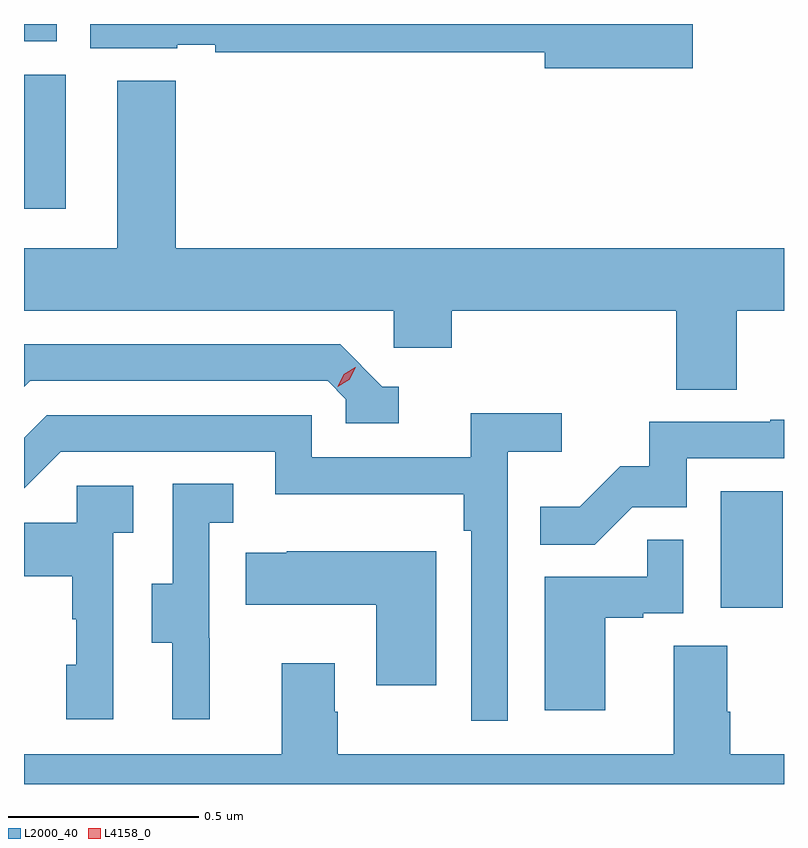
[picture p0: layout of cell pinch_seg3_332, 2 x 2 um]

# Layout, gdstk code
import gdstk
lib = gdstk.Library(unit=1e-6, precision=1e-09)
def R(c, l, rs):  # rectangles x0, y0, x1, y1
    for r in rs: c.add(gdstk.rectangle(r[:2], r[2:], *l))
def P(c, l, *ps):  # polygons
    for p in ps: c.add(gdstk.Polygon(p, *l))
L2000_40 = (2000, 40)
L4158_0 = (4158, 0)

pinch_seg3_332 = lib.new_cell('pinch_seg3_332')
R(pinch_seg3_332, L2000_40, [(1001.192,721.446,1001.356,721.753), (999.359,722.496,999.469,722.848), (999.359,722.936,999.445,722.982)])
P(pinch_seg3_332, L2000_40, [(1001.119,722.982),(999.533,722.982),(999.533,722.918),(999.762,722.918),(999.762,722.928),(999.862,722.928),(999.862,722.908),(1000.73,722.908),(1000.73,722.866),(1001.119,722.866)],
  [(1001.235,722.228),(1001.359,722.228),(1001.359,722.392),(999.758,722.392),(999.758,722.833),(999.605,722.833),(999.605,722.392),(999.359,722.392),(999.359,722.228),(1000.332,722.228),(1000.332,722.13),(1000.484,722.13),(1000.484,722.228),(1001.075,722.228),(1001.075,722.02),(1001.235,722.02)],
  [(1000.345,722.028),(1000.302,722.028),(1000.191,722.139),(999.359,722.139),(999.359,722.027),(999.375,722.043),(1000.158,722.043),(1000.206,721.995),(1000.206,721.932),(1000.345,721.932)],
  [(1000.632,721.856),(1000.774,721.856),(1000.774,721.958),(1000.535,721.958),(1000.535,721.842),(1000.116,721.842),(1000.116,721.953),(999.419,721.953),(999.359,721.893),(999.359,721.76),(999.456,721.857),(1000.02,721.857),(1000.02,721.745),(1000.516,721.745),(1000.516,721.649),(1000.536,721.649),(1000.536,721.149),(1000.632,721.149)],
  [(1000.959,721.71),(1001.103,721.71),(1001.103,721.839),(1001.359,721.839),(1001.359,721.94),(1001.323,721.94),(1001.323,721.935),(1001.005,721.935),(1001.005,721.818),(1000.928,721.818),(1000.821,721.711),(1000.717,721.711),(1000.717,721.612),(1000.861,721.612)],
  [(999.848,721.365),(999.846,721.365),(999.846,721.669),(999.91,721.669),(999.91,721.772),(999.75,721.772),(999.75,721.509),(999.695,721.509),(999.695,721.354),(999.749,721.354),(999.749,721.152),(999.848,721.152)],
  [(999.594,721.643),(999.646,721.643),(999.646,721.767),(999.498,721.767),(999.498,721.669),(999.359,721.669),(999.359,721.529),(999.486,721.529),(999.486,721.415),(999.496,721.415),(999.496,721.296),(999.47,721.296),(999.47,721.152),(999.594,721.152)],
  [(1000.888,721.419),(1000.988,721.419),(1000.988,721.431),(1001.094,721.431),(1001.094,721.625),(1000.999,721.625),(1000.999,721.527),(1000.73,721.527),(1000.73,721.176),(1000.888,721.176)],
  [(1000.444,721.594),(1000.051,721.594),(1000.051,721.591),(999.943,721.591),(999.943,721.454),(1000.286,721.454),(1000.286,721.242),(1000.444,721.242)],
  [(1001.359,721.06),(1001.217,721.06),(1001.217,721.172),(1001.209,721.172),(1001.209,721.346),(1001.069,721.346),(1001.069,721.06),(1000.185,721.06),(1000.185,721.172),(1000.177,721.172),(1000.177,721.3),(1000.037,721.3),(1000.037,721.06),(999.359,721.06),(999.359,720.982),(1001.359,720.982)])
P(pinch_seg3_332, L4158_0, [(1000.184,722.027),(1000.184,722.027),(1000.2,722.06),(1000.231,722.079),(1000.232,722.079),(1000.232,722.079),(1000.215,722.046),(1000.184,722.027)])

lib.write_gds('pinch_seg3_332.gds')
